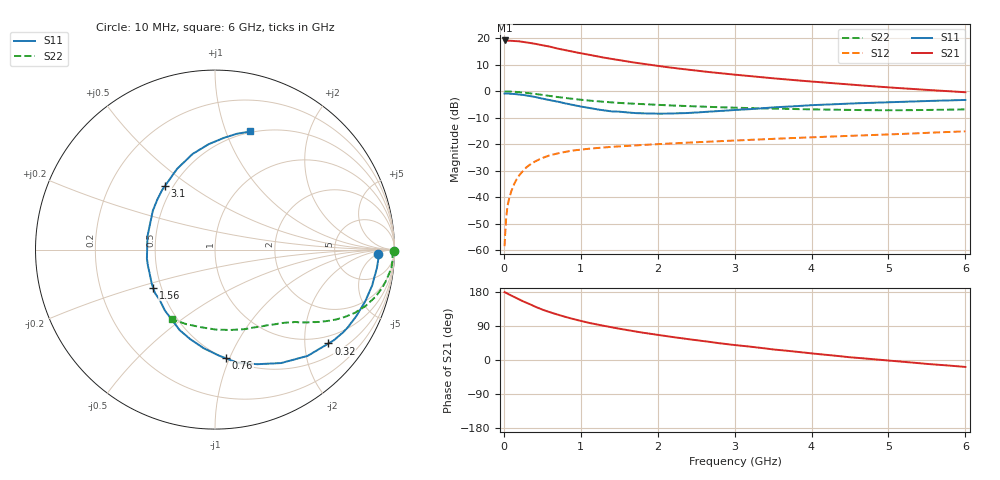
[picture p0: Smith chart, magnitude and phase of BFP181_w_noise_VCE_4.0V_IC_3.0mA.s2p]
! Infineon Technologies  Discrete & RF Semiconductors
! BFP181
! VCE = 4.0 V,  IC =  3.0 mA
! Common Emitter S-Parameters:  Jan 2016
# GHz  S  MA  R  50
!  f  S11  S21  S12  S22
! GHz  MAG  ANG  MAG  ANG  MAG  ANG  MAG  ANG
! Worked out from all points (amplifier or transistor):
!   210 points, 10 MHz to 6 GHz, reference 50 ohm
!   highest |S21| = 19.2 dB at 10 MHz (marker M1)
!   |S21| within 3 dB of that: start of sweep to 690.6 MHz
!   unconditionally stable (mu >= 1): 2.134 GHz to end of sweep
!   at 185 MHz: K = 0.13, MSG = 25.6 dB, |S12| = -32.4 dB
!   at 1.52 GHz: K = 0.80, MSG = 16.2 dB, |S12| = -20.7 dB
!   at 6 GHz: K = 1.10, MAG = 5.5 dB, |S12| = -15.1 dB
!   lowest NFmin = 1.40 dB at 450 MHz
!   S11 on the Smith chart (normalised r, x): 10 MHz: 19, -5; 320 MHz: 0.80, -2.56; 760 MHz: 0.50, -0.97; 1.56 GHz: 0.45, -0.23; 3.1 GHz: 0.45, +0.40; 6 GHz: 0.49, +1.22
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0.01  0.9066 -1.5  9.092 178.9  0.0012 94.9  0.9953 -0.5
0.035  0.9097 -4.6  9.046 176.6  0.0047 88.6  0.9891 -2.0
0.08  0.9006 -10.3  8.973 171.8  0.0109 84.2  0.9894 -4.6
0.2  0.87 -25.3  8.757 159.6  0.026 75.5  0.9653 -11.1
0.26  0.8502 -32.7  8.511 153.9  0.0327 71.2  0.9457 -14.3
0.32  0.8206 -39.6  8.245 148.9  0.0394 67.2  0.9248 -17.1
0.4  0.7856 -48.9  7.902 141.2  0.047 63.0  0.8952 -20.6
0.5  0.7313 -59.8  7.398 133.0  0.0551 57.1  0.8558 -24.3
0.6  0.6804 -69.8  6.943 125.9  0.0623 53.2  0.815 -27.4
0.76  0.6091 -84.2  6.145 116.1  0.0703 47.3  0.7594 -31.2
0.9  0.553 -96.6  5.595 108.2  0.0765 43.2  0.719 -34.0
1.02  0.5107 -107.2  5.15 102.2  0.08 40.6  0.6877 -36.0
1.1  0.4895 -113.8  4.92 98.2  0.0824 39.0  0.6694 -37.1
1.3  0.4398 -129.3  4.318 90.1  0.0873 35.7  0.6328 -39.8
1.56  0.4048 -148.5  3.742 80.6  0.0925 33.3  0.5963 -42.7
1.8  0.3843 -166.6  3.316 72.3  0.0972 31.8  0.5703 -45.4
2.02  0.3781 179.4  2.989 65.8  0.1011 30.2  0.5515 -48.0
2.4  0.3901 157.7  2.559 54.9  0.1075 28.3  0.5249 -52.9
3.1  0.4515 128.0  1.995 37.5  0.1196 25.3  0.486 -63.0
4.1  0.5541 101.1  1.487 15.4  0.1374 21.2  0.4529 -81.0
5.1  0.6303 84.2  1.159 -3.3  0.155 17.2  0.4392 -102.1
6  0.6867 73.4  0.96 -18.3  0.1756 12.7  0.4564 -121.9
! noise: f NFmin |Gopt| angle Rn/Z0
0.45  1.4  0.56  17  0.36
0.9  1.5  0.45  35  0.34
1.8  1.85  0.25  82  0.36
